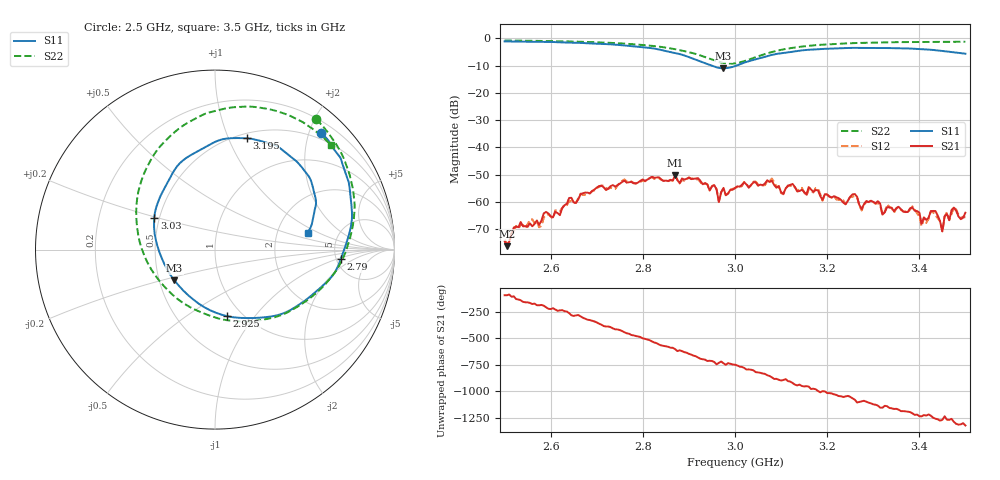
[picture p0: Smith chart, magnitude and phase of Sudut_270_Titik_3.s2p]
# Hz S RI R 50
! CMT, C1220, 16058040, 17.2.0/1
! Date: 15/08/2018 10:44:12
! Data: Format (Calibration Info)
! Freq  S11: Re/Im (F2)  S21: Re/Im (F2)  S12: Re/Im (F2)  S22: Re/Im (F2)
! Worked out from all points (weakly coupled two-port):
!   201 points, 2.5 GHz to 3.5 GHz, reference 50 ohm
!   highest |S21| = -50.26 dB at 2.87 GHz (marker M1); lowest = -76.3 dB at 2.505 GHz (marker M2)
!   lowest |S11| = -10.9 dB at 2.975 GHz (marker M3), VSWR 1.79, Z = 30 - j11.2 ohm
!   |S11| at or under -10 dB: 2.949 GHz to 3.003 GHz (53.15 MHz wide, 1.79 % of centre)
!   |S22| runs from -9.2 to -0.7 dB; largest |S21 - S12| = 0.00028
!   S11 on the Smith chart (normalised r, x): 2.5 GHz: 0.38, +2.20; 2.79 GHz: 5.50, -1.12; 2.925 GHz: 0.85, -0.74; 3.03 GHz: 0.47, +0.20; 3.195 GHz: 0.55, +1.17; 3.5 GHz: 2.99, +0.77
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2.5e9  0.5923 0.6522  -1.69e-05 -0.000188  -1.67e-05 -0.0002  0.5634 0.7256
2.505e9  0.5989 0.6441  -1.32e-05 -0.000153  1.28e-05 -0.000175  0.5695 0.7201
2.535e9  0.6357 0.6028  -0.000339 -0.000261  -0.000333 -0.000187  0.6045 0.6827
2.67e9  0.75 0.3445  0.000869 0.00114  0.000886 0.00101  0.7382 0.4531
2.79e9  0.7011 -0.0516  -0.00127 -0.00189  -0.00134 -0.00179  0.763 0.1071
2.835e9  0.5917 -0.2088  -0.00266 0.000963  -0.00261 0.000781  0.7042 -0.0661
2.87e9  0.4223 -0.3356  -0.00139 0.00274  -0.00143 0.00278  0.5992 -0.209
2.925e9  0.0682 -0.3711  0.00219 0.00105  0.00201 0.00112  0.2988 -0.3845
2.955e9  -0.1195 -0.279  0.00202 -0.000163  0.00205 -0.000185  0.0626 -0.3928
2.965e9  -0.1769 -0.2277  0.000968 -0.00021  0.00101 -0.000199  -0.0196 -0.3715
2.975e9  -0.2263 -0.1717  0.00173 -0.000512  0.00163 -0.000507  -0.0976 -0.3409
3e9  -0.3102 -0.0136  0.00155 -0.000888  0.00149 -0.00101  -0.2753 -0.2131
3.03e9  -0.3381 0.1781  0.000495 -0.00176  0.000507 -0.00177  -0.4096 0.00805
3.17e9  0.0901 0.6207  -0.000357 0.00149  -0.00045 0.00141  -0.0893 0.7403
3.195e9  0.1756 0.6203  0.000283 0.00136  0.000347 0.00137  0.00223 0.7728
3.335e9  0.4903 0.4503  0.000165 -0.000769  0.000143 -0.000801  0.392 0.7558
3.385e9  0.5429 0.3569  -0.000489 -0.000614  -0.000554 -0.000616  0.488 0.7107
3.405e9  0.5553 0.3067  -0.000369 -0.000156  -0.00032 -0.000158  0.5191 0.6892
3.435e9  0.56 0.2388  -0.000679 -1.16e-05  -0.000561 4.56e-05  0.5636 0.6573
3.45e9  0.5528 0.2056  -0.000282 5.01e-05  -0.00028 7.44e-06  0.5855 0.6405
3.475e9  0.5393 0.1413  -0.000689 0.000376  -0.000704 0.000389  0.6161 0.6131
3.5e9  0.5164 0.0936  -0.000287 0.000564  -0.000221 0.000467  0.645 0.5836
